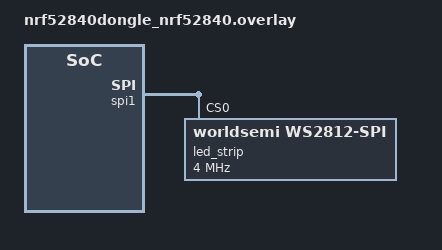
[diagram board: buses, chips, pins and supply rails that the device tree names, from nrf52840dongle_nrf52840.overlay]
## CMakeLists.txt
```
#
# Copyright (c) 2023 Nordic Semiconductor
#
# SPDX-License-Identifier: LicenseRef-Nordic-5-Clause
#
cmake_minimum_required(VERSION 3.20.0)

find_package(Zephyr REQUIRED HINTS $ENV{ZEPHYR_BASE})
project(ble_ledstripes)

# NORDIC SDK APP START
target_sources(app PRIVATE
  src/main.c
  src/neopixel_ifc.c
)

# NORDIC SDK APP END
```

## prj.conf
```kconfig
#
# Copyright (c) 2023 Nordic Semiconductor
#
# SPDX-License-Identifier: LicenseRef-Nordic-5-Clause
#
CONFIG_NCS_SAMPLES_DEFAULTS=y

CONFIG_BT=y
CONFIG_BT_PERIPHERAL=y
CONFIG_BT_DEVICE_NAME="Christmas tree"

# Enable the LBS service
CONFIG_BT_NSMS=y
CONFIG_DK_LIBRARY=y

CONFIG_SYSTEM_WORKQUEUE_STACK_SIZE=2048

CONFIG_LED_STRIP=y
CONFIG_LED_STRIP_LOG_LEVEL_DBG=y
```

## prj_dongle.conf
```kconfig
# This file is added as fragment file when setting up a nrf52840 dongle build

CONFIG_SPI=y
CONFIG_WS2812_STRIP_SPI=y
```

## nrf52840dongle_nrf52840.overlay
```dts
// To get started, press Ctrl+Space to bring up the completion menu and view the available nodes.

// You can also use the buttons in the sidebar to perform actions on nodes.
// Actions currently available include:

// * Enabling / disabling the node
// * Adding the bus to a bus
// * Removing the node
// * Connecting ADC channels

// For more help, browse the DeviceTree documentation at https://docs.zephyrproject.org/latest/guides/dts/index.html
// You can also visit the nRF DeviceTree extension documentation at https://nrfconnect.github.io/vscode-nrf-connect/devicetree/nrfdevicetree.html

#include <zephyr/dt-bindings/led/led.h>

//#include "../nrf52-bindings.h"
#define SPI_FREQ    4000000
#define ZERO_FRAME  0x40
#define ONE_FRAME   0x70

&spi1 {
    compatible = "nordic,nrf-spim";
    led_strip: ws2812@0 {
        compatible = "worldsemi,ws2812-spi";

        /* SPI */
        reg = <0>; /* ignored, but necessary for SPI bindings */
        spi-max-frequency = <SPI_FREQ>;

        /* WS2812 */
        chain-length = <36>; /* arbitrary; change at will */
        color-mapping = <LED_COLOR_ID_GREEN
                 LED_COLOR_ID_RED
                 LED_COLOR_ID_BLUE>;
        spi-one-frame = <ONE_FRAME>;
        spi-zero-frame = <ZERO_FRAME>;
    };
};

/ {
    aliases {
        led-strip = &led_strip;
    };
};
&spi1_default {
    group1 {
        psels = <NRF_PSEL(SPIM_SCK, 0, 31)>,
                <NRF_PSEL(SPIM_MOSI, 0, 29)>,
                <NRF_PSEL(SPIM_MISO, 1, 13)>;
    };
};
```

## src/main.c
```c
/*
 * Copyright (c) 2023 Nordic Semiconductor ASA
 *
 * SPDX-License-Identifier: LicenseRef-Nordic-5-Clause
 */

#include <zephyr/types.h>
#include <stddef.h>
#include <string.h>
#include <errno.h>
#include <zephyr/sys/printk.h>
#include <zephyr/sys/byteorder.h>
#include <zephyr/kernel.h>
#include <zephyr/drivers/gpio.h>
#include <soc.h>

#include <zephyr/bluetooth/bluetooth.h>
#include <zephyr/bluetooth/hci.h>
#include <zephyr/bluetooth/conn.h>
#include <zephyr/bluetooth/uuid.h>
#include <zephyr/bluetooth/gatt.h>

#include <bluetooth/services/nsms.h>

#include <zephyr/settings/settings.h>

#include <dk_buttons_and_leds.h>

#include "neopixel_ifc.h"

#define DEVICE_NAME             CONFIG_BT_DEVICE_NAME
#define DEVICE_NAME_LEN         (sizeof(DEVICE_NAME) - 1)


#define RUN_STATUS_LED          DK_LED1
#define CON_STATUS_LED          DK_LED2
#define RUN_LED_BLINK_INTERVAL  1000

#define STATUS1_BUTTON             DK_BTN1_MSK
#define STATUS2_BUTTON             DK_BTN2_MSK



// UUIDs for the custom service and characteristic
//#define CUSTOM_SERVICE_UUID BT_UUID_DECLARE_128(0x12345678, 0x1234, 0x5678, 0x1234, 0x56789abcdef0)
//#define CUSTOM_CHAR_UUID    BT_UUID_DECLARE_128(0xabcdef12, 0x3456, 0x789a, 0xbcde, 0xf0123456789a)
#define CUSTOM_SERVICE_UUID	BT_UUID_DECLARE_16(0x1234)
#define CUSTOM_CHAR_UUID_1 	BT_UUID_DECLARE_16(0x0001)
#define CUSTOM_CHAR_UUID_2  BT_UUID_DECLARE_16(0x0002)
#define CUSTOM_CHAR_UUID_3  BT_UUID_DECLARE_16(0x0003)

// Buffer to store the written value
static char write_value[32];

// Write callback
ssize_t write_callback_1(struct bt_conn *conn, const struct bt_gatt_attr *attr,
                       const void *buf, uint16_t len, uint16_t offset, uint8_t flags)
{

    char *value = (char *)attr->user_data;

    if (offset + len > sizeof(write_value)) {
        return BT_GATT_ERR(BT_ATT_ERR_INVALID_OFFSET);
    }

    // Write data to the buffer
    memcpy(value + offset, buf, len);
    value[offset + len] = '\0';  // Null-terminate for safety

	neopixel_command(value, len, 0);
    return len;
}

ssize_t write_callback_2(struct bt_conn *conn, const struct bt_gatt_attr *attr,
                       const void *buf, uint16_t len, uint16_t offset, uint8_t flags)
{
	char *value = (char *)attr->user_data;

    if (offset + len > sizeof(write_value)) {
        return BT_GATT_ERR(BT_ATT_ERR_INVALID_OFFSET);
    }

    // Write data to the buffer
    memcpy(value + offset, buf, len);
    value[offset + len] = '\0';  // Null-terminate for safety
	
	neopixel_command(value, len, 1);
	return len;
}

ssize_t write_callback_3(struct bt_conn *conn, const struct bt_gatt_attr *attr,
                       const void *buf, uint16_t len, uint16_t offset, uint8_t flags)
{
	char *value = (char *)attr->user_data;

    if (offset + len > sizeof(write_value)) {
        return BT_GATT_ERR(BT_ATT_ERR_INVALID_OFFSET);
    }

    // Write data to the buffer
    memcpy(value + offset, buf, len);
    value[offset + len] = '\0';  // Null-terminate for safety

	neopixel_command(value, len, 2);
	return len;
}


BT_GATT_SERVICE_DEFINE(custom_service,
    BT_GATT_PRIMARY_SERVICE(CUSTOM_SERVICE_UUID),
    BT_GATT_CHARACTERISTIC(CUSTOM_CHAR_UUID_1, 
                           BT_GATT_CHRC_WRITE,
                           BT_GATT_PERM_WRITE,
                           NULL, 
                           write_callback_1, 
                           write_value),
    BT_GATT_CHARACTERISTIC(CUSTOM_CHAR_UUID_2, 
                           BT_GATT_CHRC_WRITE,
                           BT_GATT_PERM_WRITE,
                           NULL, 
                           write_callback_2, 
                           write_value),
    BT_GATT_CHARACTERISTIC(CUSTOM_CHAR_UUID_3, 
                           BT_GATT_CHRC_WRITE,
                           BT_GATT_PERM_WRITE,
                           NULL, 
                           write_callback_3, 
                           write_value)
);

static const struct bt_data ad[] = {
	BT_DATA_BYTES(BT_DATA_FLAGS, (BT_LE_AD_GENERAL | BT_LE_AD_NO_BREDR)),
	BT_DATA(BT_DATA_NAME_COMPLETE, DEVICE_NAME, DEVICE_NAME_LEN),
};

static const struct bt_data sd[] = {
	BT_DATA_BYTES(BT_DATA_UUID128_ALL, BT_UUID_NSMS_VAL),
};

static void connected(struct bt_conn *conn, uint8_t err)
{
	if (err) {
		printk("Connection failed (err %u)\n", err);
		return;
	}

	printk("Connected\n");

	dk_set_led_on(CON_STATUS_LED);
}

static void disconnected(struct bt_conn *conn, uint8_t reason)
{
	printk("Disconnected (reason %u)\n", reason);

	dk_set_led_off(CON_STATUS_LED);
}

#if IS_ENABLED(CONFIG_BT_STATUS_SECURITY_ENABLED)
static void security_changed(struct bt_conn *conn, bt_security_t level,
			     enum bt_security_err err)
{
	char addr[BT_ADDR_LE_STR_LEN];

	bt_addr_le_to_str(bt_conn_get_dst(conn), addr, sizeof(addr));

	if (!err) {
		printk("Security changed: %s level %u\n", addr, level);
	} else {
		printk("Security failed: %s level %u err %d\n", addr, level,
			err);
	}
}
#endif

BT_CONN_CB_DEFINE(conn_callbacks) = {
	.connected        = connected,
	.disconnected     = disconnected,
#if IS_ENABLED(CONFIG_BT_STATUS_SECURITY_ENABLED)
	.security_changed = security_changed,
#endif
};

#if IS_ENABLED(CONFIG_BT_STATUS_SECURITY_ENABLED)
static void auth_passkey_display(struct bt_conn *conn, unsigned int passkey)
{
	char addr[BT_ADDR_LE_STR_LEN];

	bt_addr_le_to_str(bt_conn_get_dst(conn), addr, sizeof(addr));

	printk("Passkey for %s: %06u\n", addr, passkey);
}

static void auth_cancel(struct bt_conn *conn)
{
	char addr[BT_ADDR_LE_STR_LEN];

	bt_addr_le_to_str(bt_conn_get_dst(conn), addr, sizeof(addr));

	printk("Pairing cancelled: %s\n", addr);
}

static void pairing_complete(struct bt_conn *conn, bool bonded)
{
	char addr[BT_ADDR_LE_STR_LEN];

	bt_addr_le_to_str(bt_conn_get_dst(conn), addr, sizeof(addr));

	printk("Pairing completed: %s, bonded: %d\n", addr, bonded);
}

static void pairing_failed(struct bt_conn *conn, enum bt_security_err reason)
{
	char addr[BT_ADDR_LE_STR_LEN];

	bt_addr_le_to_str(bt_conn_get_dst(conn), addr, sizeof(addr));

	printk("Pairing failed conn: %s, reason %d\n", addr, reason);
}

static struct bt_conn_auth_cb conn_auth_callbacks = {
	.passkey_display = auth_passkey_display,
	.cancel = auth_cancel,
};

static struct bt_conn_auth_info_cb conn_auth_info_callbacks = {
	.pairing_complete = pairing_complete,
	.pairing_failed = pairing_failed
};
#else
static struct bt_conn_auth_cb conn_auth_callbacks;
static struct bt_conn_auth_info_cb conn_auth_info_callbacks;
#endif /* IS_ENABLED(CONFIG_BT_STATUS_SECURITY_ENABLED) */


static void button_changed(uint32_t button_state, uint32_t has_changed)
{
	#if 0
	if (has_changed & STATUS1_BUTTON) {
		bt_nsms_set_status(&nsms_btn1,
				   (button_state & STATUS1_BUTTON) ? "Pressed" : "Released");
	}
	if (has_changed & STATUS2_BUTTON) {
		bt_nsms_set_status(&nsms_btn2,
				   (button_state & STATUS2_BUTTON) ? "Pressed" : "Released");
	}
	#endif
}

static int init_button(void)
{
	int err;

	err = dk_buttons_init(button_changed);
	if (err) {
		printk("Cannot init buttons (err: %d)\n", err);
	}

	return err;
}

int main(void)
{
	int blink_status = 0;
	int err;

	printk("Starting Bluetooth Peripheral Status example\n");

	err = dk_leds_init();
	if (err) {
		printk("LEDs init failed (err %d)\n", err);
		return 0;
	}

	err = init_button();
	if (err) {
		printk("Button init failed (err %d)\n", err);
		return 0;
	}

	if (IS_ENABLED(CONFIG_BT_STATUS_SECURITY_ENABLED)) {
		err = bt_conn_auth_cb_register(&conn_auth_callbacks);
		if (err) {
			printk("Failed to register authorization callbacks.\n");
			return 0;
		}

		err = bt_conn_auth_info_cb_register(&conn_auth_info_callbacks);
		if (err) {
			printk("Failed to register authorization info callbacks.\n");
			return 0;
		}
	}

	err = bt_enable(NULL);
	if (err) {
		printk("Bluetooth init failed (err %d)\n", err);
		return 0;
	}

	printk("Bluetooth initialized\n");

	if (IS_ENABLED(CONFIG_SETTINGS)) {
		settings_load();
	}

	err = bt_le_adv_start(BT_LE_ADV_CONN, ad, ARRAY_SIZE(ad), sd, ARRAY_SIZE(sd));
	if (err) {
		printk("Advertising failed to start (err %d)\n", err);
		return 0;
	}

	printk("Advertising successfully started\n");

	for (;;) {
		dk_set_led(RUN_STATUS_LED, (++blink_status) % 2);
		k_sleep(K_MSEC(RUN_LED_BLINK_INTERVAL));
	}
}
```

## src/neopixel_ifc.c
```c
#include "neopixel_ifc.h"

#include <errno.h>
#include <string.h>

#define LOG_LEVEL 4
#include <zephyr/logging/log.h>
LOG_MODULE_REGISTER(main);

#include <zephyr/kernel.h>
#include <zephyr/drivers/led_strip.h>
#include <zephyr/device.h>
#include <zephyr/drivers/spi.h>
#include <zephyr/sys/util.h>

#define STRIP_NODE		DT_ALIAS(led_strip)
#define STRIP_NUM_PIXELS	DT_PROP(DT_ALIAS(led_strip), chain_length)

#define DELAY_TIME K_MSEC(10)
#define DELAY_TIME_LOGO K_MSEC(30)

#define RGB(_r, _g, _b) { .r = (_r), .g = (_g), .b = (_b) }

static const struct led_rgb colors[] = {
	RGB(0x3f, 0x00, 0x00), /* red */
	RGB(0x00, 0x3f, 0x00), /* green */
	RGB(0x00, 0x00, 0x3f), /* blue */
	RGB(0x0f, 0x3f, 0x00), /* yellow */
};

struct led_rgb pixels[STRIP_NUM_PIXELS];

static const struct device *const strip = DEVICE_DT_GET(STRIP_NODE);

static uint32_t display_offset = 0;

#define COLUMNS 16
#define ROWS    16

// Basic alphabet
uint8_t letters[][6] = {
{ 0x00, 0x00, 0x00, 0x00, 0x00, 0x00}, // SPACE
{ 0x7F, 0x88, 0x88, 0x88, 0x7F, 0x00}, // A
{ 0xFF, 0x91, 0x91, 0x91, 0x6E, 0x00}, // B
{ 0x7E, 0x81, 0x81, 0x81, 0x42, 0x00}, // C
{ 0xFF, 0x81, 0x81, 0x42, 0x3C, 0x00}, // D
{ 0xFF, 0x91, 0x91, 0x91, 0x81, 0x00}, // E
{ 0xFF, 0x90, 0x90, 0x90, 0x80, 0x00}, // F
{ 0x7E, 0x81, 0x89, 0x89, 0x4E, 0x00}, // G
{ 0xFF, 0x10, 0x10, 0x10, 0xFF, 0x00}, // H
{ 0x81, 0x81, 0xFF, 0x81, 0x81, 0x00}, // I
{ 0x06, 0x01, 0x01, 0x01, 0xFE, 0x00}, // J
{ 0xFF, 0x18, 0x24, 0x42, 0x81, 0x00}, // K
{ 0xFF, 0x01, 0x01, 0x01, 0x01, 0x00}, // L
{ 0xFF, 0x40, 0x30, 0x40, 0xFF, 0x00}, // M
{ 0xFF, 0x40, 0x30, 0x08, 0xFF, 0x00}, // N
{ 0x7E, 0x81, 0x81, 0x81, 0x7E, 0x00}, // O
{ 0xFF, 0x88, 0x88, 0x88, 0x70, 0x00}, // P
{ 0x7E, 0x81, 0x85, 0x82, 0x7D, 0x00}, // Q
{ 0xFF, 0x88, 0x8C, 0x8A, 0x71, 0x00}, // R
{ 0x61, 0x91, 0x91, 0x91, 0x8E, 0x00}, // S
{ 0x80, 0x80, 0xFF, 0x80, 0x80, 0x00}, // T
{ 0xFE, 0x01, 0x01, 0x01, 0xFE, 0x00}, // U
{ 0xF0, 0x0C, 0x03, 0x0C, 0xF0, 0x00}, // V
{ 0xFF, 0x02, 0x0C, 0x02, 0xFF, 0x00}, // W
{ 0xC3, 0x24, 0x18, 0x24, 0xC3, 0x00}, // X
{ 0xE0, 0x10, 0x0F, 0x10, 0xE0, 0x00}, // Y
{ 0x83, 0x85, 0x99, 0xA1, 0xC1, 0x00}, // Z
{ 0x06, 0x29, 0x29, 0x29, 0x1F, 0x00}, // a
{ 0xFF, 0x09, 0x11, 0x11, 0x0E, 0x00}, // b
{ 0x1E, 0x21, 0x21, 0x21, 0x12, 0x00}, // c
{ 0x0E, 0x11, 0x11, 0x09, 0xFF, 0x00}, // d
{ 0x0E, 0x15, 0x15, 0x15, 0x0C, 0x00}, // e
{ 0x08, 0x7F, 0x88, 0x80, 0x40, 0x00}, // f
{ 0x30, 0x49, 0x49, 0x49, 0x7E, 0x00}, // g
{ 0xFF, 0x08, 0x10, 0x10, 0x0F, 0x00}, // h
{ 0x00, 0x00, 0x5F, 0x00, 0x00, 0x00}, // i
{ 0x02, 0x01, 0x21, 0xBE, 0x00, 0x00}, // j
{ 0xFF, 0x04, 0x0A, 0x11, 0x00, 0x00}, // k
{ 0x00, 0x81, 0xFF, 0x01, 0x00, 0x00}, // l
{ 0x3F, 0x20, 0x18, 0x20, 0x1F, 0x00}, // m
{ 0x3F, 0x10, 0x20, 0x20, 0x1F, 0x00}, // n
{ 0x0E, 0x11, 0x11, 0x11, 0x0E, 0x00}, // o
{ 0x3F, 0x24, 0x24, 0x24, 0x18, 0x00}, // p
{ 0x10, 0x28, 0x28, 0x18, 0x3F, 0x00}, // q
{ 0x1F, 0x08, 0x10, 0x10, 0x08, 0x00}, // r
{ 0x09, 0x15, 0x15, 0x15, 0x02, 0x00}, // s
{ 0x20, 0xFE, 0x21, 0x01, 0x02, 0x00}, // t
{ 0x1E, 0x01, 0x01, 0x02, 0x1F, 0x00}, // u
{ 0x1C, 0x02, 0x01, 0x02, 0x1C, 0x00}, // v
{ 0x1E, 0x01, 0x0E, 0x01, 0x1E, 0x00}, // w
{ 0x11, 0x0A, 0x04, 0x0A, 0x11, 0x00}, // x
{ 0x00, 0x39, 0x05, 0x05, 0x3E, 0x00}, // y
{ 0x11, 0x13, 0x15, 0x19, 0x11, 0x00}, // z
{ 0x00, 0x41, 0xFF, 0x01, 0x00, 0x00}, // 1
{ 0x43, 0x85, 0x89, 0x91, 0x61, 0x00}, // 2
{ 0x42, 0x81, 0x91, 0x91, 0x6E, 0x00}, // 3
{ 0x18, 0x28, 0x48, 0xFF, 0x08, 0x00}, // 4
{ 0xF2, 0x91, 0x91, 0x91, 0x8E, 0x00}, // 5
{ 0x1E, 0x29, 0x49, 0x89, 0x86, 0x00}, // 6
{ 0x80, 0x8F, 0x90, 0xA0, 0xC0, 0x00}, // 7
{ 0x6E, 0x91, 0x91, 0x91, 0x6E, 0x00}, // 8
{ 0x70, 0x89, 0x89, 0x8A, 0x7C, 0x00}, // 9
{ 0x7E, 0x89, 0x91, 0xA1, 0x7E, 0x00}, // 0
{ 0x60, 0x80, 0x8D, 0x90, 0x60, 0x00}, // ?
{ 0x00, 0x00, 0xFD, 0x00, 0x00, 0x00}, // !
{ 0x0F, 0x54, 0xB4, 0x54, 0x0F, 0x00}, // Å
};


const uint8_t santa_right_img[16][16][3] = {
    { {0, 0, 0}, {0, 0, 0}, {0, 0, 0}, {0, 0, 0}, {0, 0, 0}, {0, 0, 0}, {0, 0, 0}, {0, 0, 0}, {255, 0, 64}, {255, 0, 64}, {255, 0, 64}, {255, 0, 64}, {0, 0, 0}, {0, 0, 0}, {0, 0, 0}, {0, 0, 0} },
    { {0, 0, 0}, {0, 0, 0}, {0, 0, 0}, {0, 0, 0}, {0, 0, 0}, {0, 0, 0}, {0, 0, 0}, {255, 0, 64}, {255, 0, 64}, {255, 0, 64}, {0, 0, 0}, {255, 0, 64}, {255, 0, 64}, {0, 0, 0}, {0, 0, 0}, {0, 0, 0} },
    { {0, 0, 0}, {0, 0, 0}, {0, 0, 0}, {0, 0, 0}, {0, 0, 0}, {0, 0, 0}, {255, 0, 64}, {255, 0, 64}, {255, 0, 64}, {255, 0, 64}, {0, 0, 0}, {0, 0, 0}, {255, 0, 64}, {255, 0, 64}, {0, 0, 0}, {0, 0, 0} },
    { {0, 0, 0}, {0, 0, 0}, {0, 0, 0}, {0, 0, 0}, {0, 0, 0}, {255, 0, 64}, {255, 0, 64}, {255, 0, 64}, {255, 0, 64}, {255, 0, 64}, {255, 0, 64}, {0, 0, 0}, {0, 0, 0}, {0, 0, 0}, {0, 0, 0}, {0, 0, 0} },
    { {0, 0, 0}, {0, 0, 0}, {0, 0, 0}, {0, 0, 0}, {255, 0, 64}, {255, 0, 64}, {255, 0, 64}, {255, 0, 64}, {255, 0, 64}, {255, 0, 64}, {255, 0, 64}, {255, 0, 64}, {0, 0, 0}, {0, 0, 0}, {0, 0, 0}, {0, 0, 0} },
    { {0, 0, 0}, {0, 0, 0}, {0, 0, 0}, {255, 0, 64}, {255, 0, 64}, {255, 0, 64}, {255, 0, 64}, {255, 0, 64}, {255, 0, 64}, {255, 0, 64}, {255, 0, 64}, {255, 0, 64}, {255, 0, 64}, {0, 0, 0}, {0, 0, 0}, {0, 0, 0} },
    { {0, 0, 0}, {0, 0, 0}, {255, 0, 64}, {255, 0, 64}, {255, 0, 64}, {255, 0, 64}, {255, 0, 64}, {255, 0, 64}, {255, 0, 64}, {255, 0, 64}, {255, 0, 64}, {255, 0, 64}, {255, 0, 64}, {255, 0, 64}, {0, 0, 0}, {0, 0, 0} },
    { {0, 0, 0}, {0, 0, 0}, {255, 255, 255}, {132, 71, 55}, {132, 71, 55}, {132, 71, 55}, {132, 71, 55}, {132, 71, 55}, {132, 71, 55}, {132, 71, 55}, {132, 71, 55}, {132, 71, 55}, {132, 71, 55}, {255, 255, 255}, {0, 0, 0}, {0, 0, 0} },
    { {0, 0, 0}, {0, 0, 0}, {255, 255, 255}, {255, 255, 255}, {132, 71, 55}, {255, 255, 255}, {132, 71, 55}, {132, 71, 55}, {132, 71, 55}, {255, 255, 255}, {132, 71, 55}, {132, 71, 55}, {255, 255, 255}, {255, 255, 255}, {0, 0, 0}, {0, 0, 0} },
    { {0, 0, 0}, {0, 0, 0}, {0, 0, 0}, {255, 255, 255}, {132, 71, 55}, {132, 71, 55}, {132, 71, 55}, {132, 71, 55}, {132, 71, 55}, {132, 71, 55}, {132, 71, 55}, {132, 71, 55}, {255, 255, 255}, {0, 0, 0}, {0, 0, 0}, {0, 0, 0} },
    { {0, 0, 0}, {0, 0, 0}, {0, 0, 0}, {255, 255, 255}, {255, 255, 255}, {132, 71, 55}, {132, 71, 55}, {132, 71, 55}, {132, 71, 55}, {132, 71, 55}, {132, 71, 55}, {255, 255, 255}, {255, 255, 255}, {0, 0, 0}, {0, 0, 0}, {0, 0, 0} },
    { {0, 0, 0}, {255, 0, 64}, {255, 0, 64}, {255, 255, 255}, {255, 255, 255}, {255, 255, 255}, {132, 71, 55}, {132, 71, 55}, {132, 71, 55}, {132, 71, 55}, {255, 255, 255}, {255, 255, 255}, {255, 255, 255}, {255, 0, 64}, {255, 0, 64}, {0, 0, 0} },
    { {255, 0, 64}, {255, 0, 64}, {255, 0, 64}, {255, 0, 64}, {255, 255, 255}, {255, 255, 255}, {255, 255, 255}, {255, 255, 255}, {255, 255, 255}, {255, 255, 255}, {255, 255, 255}, {255, 255, 255}, {255, 0, 64}, {255, 0, 64}, {255, 0, 64}, {255, 0, 64} },
    { {255, 0, 64}, {255, 0, 64}, {255, 0, 64}, {255, 0, 64}, {255, 0, 64}, {255, 255, 255}, {255, 255, 255}, {255, 255, 255}, {255, 255, 255}, {255, 255, 255}, {255, 255, 255}, {255, 0, 64}, {255, 0, 64}, {255, 0, 64}, {255, 0, 64}, {255, 0, 64} },
    { {255, 0, 64}, {255, 0, 64}, {255, 0, 64}, {255, 0, 64}, {255, 0, 64}, {255, 255, 255}, {255, 255, 255}, {255, 255, 255}, {255, 255, 255}, {255, 255, 255}, {255, 255, 255}, {255, 0, 64}, {255, 0, 64}, {255, 0, 64}, {255, 0, 64}, {255, 0, 64} },
    { {255, 0, 64}, {255, 0, 64}, {255, 0, 64}, {255, 0, 64}, {255, 0, 64}, {255, 0, 64}, {255, 255, 255}, {255, 255, 255}, {255, 255, 255}, {255, 0, 64}, {255, 0, 64}, {255, 0, 64}, {255, 0, 64}, {255, 0, 64}, {255, 0, 64}, {255, 0, 64} },
};

const uint8_t santa_left_img[16][16][3] = {
    { {0, 0, 0}, {0, 0, 0}, {0, 0, 0}, {0, 0, 0}, {0, 0, 0}, {0, 0, 0}, {0, 0, 0}, {0, 0, 0}, {255, 0, 64}, {255, 0, 64}, {255, 0, 64}, {255, 0, 64}, {0, 0, 0}, {0, 0, 0}, {0, 0, 0}, {0, 0, 0} },
    { {0, 0, 0}, {0, 0, 0}, {0, 0, 0}, {0, 0, 0}, {0, 0, 0}, {0, 0, 0}, {0, 0, 0}, {255, 0, 64}, {255, 0, 64}, {255, 0, 64}, {0, 0, 0}, {255, 0, 64}, {255, 0, 64}, {0, 0, 0}, {0, 0, 0}, {0, 0, 0} },
    { {0, 0, 0}, {0, 0, 0}, {0, 0, 0}, {0, 0, 0}, {0, 0, 0}, {0, 0, 0}, {255, 0, 64}, {255, 0, 64}, {255, 0, 64}, {255, 0, 64}, {0, 0, 0}, {0, 0, 0}, {255, 0, 64}, {255, 0, 64}, {0, 0, 0}, {0, 0, 0} },
    { {0, 0, 0}, {0, 0, 0}, {0, 0, 0}, {0, 0, 0}, {0, 0, 0}, {255, 0, 64}, {255, 0, 64}, {255, 0, 64}, {255, 0, 64}, {255, 0, 64}, {255, 0, 64}, {0, 0, 0}, {0, 0, 0}, {0, 0, 0}, {0, 0, 0}, {0, 0, 0} },
    { {0, 0, 0}, {0, 0, 0}, {0, 0, 0}, {0, 0, 0}, {255, 0, 64}, {255, 0, 64}, {255, 0, 64}, {255, 0, 64}, {255, 0, 64}, {255, 0, 64}, {255, 0, 64}, {255, 0, 64}, {0, 0, 0}, {0, 0, 0}, {0, 0, 0}, {0, 0, 0} },
    { {0, 0, 0}, {0, 0, 0}, {0, 0, 0}, {255, 0, 64}, {255, 0, 64}, {255, 0, 64}, {255, 0, 64}, {255, 0, 64}, {255, 0, 64}, {255, 0, 64}, {255, 0, 64}, {255, 0, 64}, {255, 0, 64}, {0, 0, 0}, {0, 0, 0}, {0, 0, 0} },
    { {0, 0, 0}, {0, 0, 0}, {255, 0, 64}, {255, 0, 64}, {255, 0, 64}, {255, 0, 64}, {255, 0, 64}, {255, 0, 64}, {255, 0, 64}, {255, 0, 64}, {255, 0, 64}, {255, 0, 64}, {255, 0, 64}, {255, 0, 64}, {0, 0, 0}, {0, 0, 0} },
    { {0, 0, 0}, {0, 0, 0}, {255, 255, 255}, {132, 71, 55}, {132, 71, 55}, {132, 71, 55}, {132, 71, 55}, {132, 71, 55}, {132, 71, 55}, {132, 71, 55}, {132, 71, 55}, {132, 71, 55}, {132, 71, 55}, {255, 255, 255}, {0, 0, 0}, {0, 0, 0} },
    { {0, 0, 0}, {0, 0, 0}, {255, 255, 255}, {255, 255, 255}, {132, 71, 55}, {132, 71, 55}, {255, 255, 255}, {132, 71, 55}, {132, 71, 55}, {132, 71, 55}, {255, 255, 255}, {132, 71, 55}, {255, 255, 255}, {255, 255, 255}, {0, 0, 0}, {0, 0, 0} },
    { {0, 0, 0}, {0, 0, 0}, {0, 0, 0}, {255, 255, 255}, {132, 71, 55}, {132, 71, 55}, {132, 71, 55}, {132, 71, 55}, {132, 71, 55}, {132, 71, 55}, {132, 71, 55}, {132, 71, 55}, {255, 255, 255}, {0, 0, 0}, {0, 0, 0}, {0, 0, 0} },
    { {0, 0, 0}, {0, 0, 0}, {0, 0, 0}, {255, 255, 255}, {255, 255, 255}, {132, 71, 55}, {132, 71, 55}, {132, 71, 55}, {132, 71, 55}, {132, 71, 55}, {132, 71, 55}, {255, 255, 255}, {255, 255, 255}, {0, 0, 0}, {0, 0, 0}, {0, 0, 0} },
    { {0, 0, 0}, {255, 0, 64}, {255, 0, 64}, {255, 255, 255}, {255, 255, 255}, {255, 255, 255}, {132, 71, 55}, {132, 71, 55}, {132, 71, 55}, {132, 71, 55}, {255, 255, 255}, {255, 255, 255}, {255, 255, 255}, {255, 0, 64}, {255, 0, 64}, {0, 0, 0} },
    { {255, 0, 64}, {255, 0, 64}, {255, 0, 64}, {255, 0, 64}, {255, 255, 255}, {255, 255, 255}, {255, 255, 255}, {255, 255, 255}, {255, 255, 255}, {255, 255, 255}, {255, 255, 255}, {255, 255, 255}, {255, 0, 64}, {255, 0, 64}, {255, 0, 64}, {255, 0, 64} },
    { {255, 0, 64}, {255, 0, 64}, {255, 0, 64}, {255, 0, 64}, {255, 0, 64}, {255, 255, 255}, {255, 255, 255}, {255, 255, 255}, {255, 255, 255}, {255, 255, 255}, {255, 255, 255}, {255, 0, 64}, {255, 0, 64}, {255, 0, 64}, {255, 0, 64}, {255, 0, 64} },
    { {255, 0, 64}, {255, 0, 64}, {255, 0, 64}, {255, 0, 64}, {255, 0, 64}, {255, 255, 255}, {255, 255, 255}, {255, 255, 255}, {255, 255, 255}, {255, 255, 255}, {255, 255, 255}, {255, 0, 64}, {255, 0, 64}, {255, 0, 64}, {255, 0, 64}, {255, 0, 64} },
    { {255, 0, 64}, {255, 0, 64}, {255, 0, 64}, {255, 0, 64}, {255, 0, 64}, {255, 0, 64}, {255, 255, 255}, {255, 255, 255}, {255, 255, 255}, {255, 0, 64}, {255, 0, 64}, {255, 0, 64}, {255, 0, 64}, {255, 0, 64}, {255, 0, 64}, {255, 0, 64} },
};

const uint8_t polka_img[16][16][3] = {
    { {90, 197, 79}, {90, 197, 79}, {90, 197, 79}, {90, 197, 79}, {90, 197, 79}, {90, 197, 79}, {90, 197, 79}, {90, 197, 79}, {90, 197, 79}, {90, 197, 79}, {90, 197, 79}, {90, 197, 79}, {90, 197, 79}, {90, 197, 79}, {90, 197, 79}, {90, 197, 79} },
    { {90, 197, 79}, {90, 197, 79}, {90, 197, 79}, {90, 197, 79}, {90, 197, 79}, {90, 197, 79}, {90, 197, 79}, {90, 197, 79}, {90, 197, 79}, {90, 197, 79}, {90, 197, 79}, {90, 197, 79}, {90, 197, 79}, {255, 255, 255}, {90, 197, 79}, {90, 197, 79} },
    { {90, 197, 79}, {90, 197, 79}, {90, 197, 79}, {90, 197, 79}, {90, 197, 79}, {90, 197, 79}, {255, 0, 64}, {255, 0, 64}, {90, 197, 79}, {90, 197, 79}, {90, 197, 79}, {90, 197, 79}, {255, 0, 64}, {90, 197, 79}, {255, 0, 64}, {90, 197, 79} },
    { {90, 197, 79}, {90, 197, 79}, {90, 197, 79}, {90, 197, 79}, {90, 197, 79}, {255, 0, 64}, {255, 0, 64}, {255, 255, 255}, {255, 255, 255}, {90, 197, 79}, {90, 197, 79}, {90, 197, 79}, {90, 197, 79}, {90, 197, 79}, {255, 255, 255}, {90, 197, 79} },
    { {90, 197, 79}, {90, 197, 79}, {90, 197, 79}, {90, 197, 79}, {255, 255, 255}, {255, 255, 255}, {90, 197, 79}, {90, 197, 79}, {255, 255, 255}, {255, 0, 64}, {90, 197, 79}, {90, 197, 79}, {90, 197, 79}, {90, 197, 79}, {255, 0, 64}, {90, 197, 79} },
    { {90, 197, 79}, {90, 197, 79}, {90, 197, 79}, {90, 197, 79}, {255, 255, 255}, {90, 197, 79}, {90, 197, 79}, {90, 197, 79}, {255, 0, 64}, {255, 0, 64}, {90, 197, 79}, {90, 197, 79}, {90, 197, 79}, {90, 197, 79}, {255, 255, 255}, {90, 197, 79} },
    { {90, 197, 79}, {90, 197, 79}, {90, 197, 79}, {90, 197, 79}, {90, 197, 79}, {90, 197, 79}, {90, 197, 79}, {90, 197, 79}, {255, 0, 64}, {255, 255, 255}, {90, 197, 79}, {90, 197, 79}, {90, 197, 79}, {90, 197, 79}, {255, 0, 64}, {90, 197, 79} },
    { {90, 197, 79}, {90, 197, 79}, {90, 197, 79}, {90, 197, 79}, {90, 197, 79}, {90, 197, 79}, {90, 197, 79}, {90, 197, 79}, {255, 255, 255}, {255, 255, 255}, {90, 197, 79}, {90, 197, 79}, {90, 197, 79}, {90, 197, 79}, {90, 197, 79}, {90, 197, 79} },
    { {90, 197, 79}, {90, 197, 79}, {90, 197, 79}, {90, 197, 79}, {90, 197, 79}, {90, 197, 79}, {90, 197, 79}, {90, 197, 79}, {255, 255, 255}, {255, 0, 64}, {90, 197, 79}, {90, 197, 79}, {90, 197, 79}, {90, 197, 79}, {90, 197, 79}, {90, 197, 79} },
    { {90, 197, 79}, {90, 197, 79}, {90, 197, 79}, {255, 255, 255}, {90, 197, 79}, {90, 197, 79}, {90, 197, 79}, {90, 197, 79}, {255, 0, 64}, {255, 0, 64}, {90, 197, 79}, {90, 197, 79}, {90, 197, 79}, {90, 197, 79}, {90, 197, 79}, {90, 197, 79} },
    { {90, 197, 79}, {90, 197, 79}, {255, 0, 64}, {90, 197, 79}, {255, 0, 64}, {90, 197, 79}, {90, 197, 79}, {90, 197, 79}, {255, 0, 64}, {255, 255, 255}, {90, 197, 79}, {90, 197, 79}, {90, 197, 79}, {90, 197, 79}, {90, 197, 79}, {90, 197, 79} },
    { {90, 197, 79}, {90, 197, 79}, {90, 197, 79}, {90, 197, 79}, {255, 255, 255}, {90, 197, 79}, {90, 197, 79}, {90, 197, 79}, {255, 255, 255}, {255, 255, 255}, {90, 197, 79}, {90, 197, 79}, {90, 197, 79}, {90, 197, 79}, {90, 197, 79}, {90, 197, 79} },
    { {90, 197, 79}, {90, 197, 79}, {90, 197, 79}, {90, 197, 79}, {255, 0, 64}, {90, 197, 79}, {90, 197, 79}, {90, 197, 79}, {255, 255, 255}, {255, 0, 64}, {90, 197, 79}, {90, 197, 79}, {90, 197, 79}, {90, 197, 79}, {90, 197, 79}, {90, 197, 79} },
    { {90, 197, 79}, {90, 197, 79}, {90, 197, 79}, {90, 197, 79}, {255, 255, 255}, {90, 197, 79}, {90, 197, 79}, {90, 197, 79}, {255, 0, 64}, {255, 0, 64}, {90, 197, 79}, {90, 197, 79}, {90, 197, 79}, {90, 197, 79}, {90, 197, 79}, {90, 197, 79} },
    { {90, 197, 79}, {90, 197, 79}, {90, 197, 79}, {90, 197, 79}, {255, 0, 64}, {90, 197, 79}, {90, 197, 79}, {90, 197, 79}, {90, 197, 79}, {90, 197, 79}, {90, 197, 79}, {90, 197, 79}, {90, 197, 79}, {90, 197, 79}, {90, 197, 79}, {90, 197, 79} },
    { {90, 197, 79}, {90, 197, 79}, {90, 197, 79}, {90, 197, 79}, {90, 197, 79}, {90, 197, 79}, {90, 197, 79}, {90, 197, 79}, {90, 197, 79}, {90, 197, 79}, {90, 197, 79}, {90, 197, 79}, {90, 197, 79}, {90, 197, 79}, {90, 197, 79}, {90, 197, 79} },
};

const char letterPositions[] = " ABCDEFGHIJKLMNOPQRSTUVWXYZabcdefghijklmnopqrstuvwxyz1234567890?!Å";

size_t selected_color = 1;
size_t selected_repetitions = 1;


uint8_t get_letter_pos( char letter ) {
    for (uint8_t i = 0; i < sizeof(letterPositions); i++ )
    {
        if ( letter == letterPositions[i] ) {
            return i;
        }
    }
    return 0;
}

static void set_pixel_10_30( uint16_t row, uint16_t column, size_t color )  {
    uint16_t led_no = row*COLUMNS;

    if(row %2) {
        led_no += (COLUMNS - 1) - column;
    }
        else {
  	    led_no += column;
    }

    memcpy(&pixels[led_no], &colors[color], sizeof(struct led_rgb));
}

static void set_pixel_16_16( uint16_t row, uint16_t column, size_t color )  {
    uint16_t led_no = row*COLUMNS;

    if((row+1) %2) {
        led_no += (COLUMNS - 1) - column;
    }
        else {
  	    led_no += column;
    }

    memcpy(&pixels[led_no + display_offset], &colors[color], sizeof(struct led_rgb));
}

static void write_char( const uint8_t* c, int x_offset) {
	int x_pos = 0;
  	for( uint8_t x=0; x<6; x++ ) {
  		x_pos = x + x_offset;
    	if( x_pos >=0 && x_pos < COLUMNS ) {
    		for( uint8_t y=0; y<8; y++ ) {
   	  			if(( 0x80 >> y ) & c[x] ) {
	  				set_pixel_16_16( y+1, x_pos, selected_color );
      			}
  			}
    	}
  	}
}

static void update_led_strip( void ) {
    int rc;

    rc = led_strip_update_rgb(strip, pixels, STRIP_NUM_PIXELS);
    if (rc) {
        LOG_ERR("couldn't update strip: %d", rc);
    }
}

static void fill_pixel_memory( size_t color ) {
    /* Fill pixel memory */
    for (uint16_t led_no = 0; led_no < STRIP_NUM_PIXELS; led_no++) {
        memcpy(&pixels[led_no], &colors[color], sizeof(struct led_rgb));
    }
}

static void clear_pixel_memory( void ) {
    /* Clear pixel memory */
    memset(pixels, 0x00, sizeof(pixels));
}

static void clear_pixel_memory_page( void ) {
    /* Clear pixel memory */
    memset(&pixels[display_offset], 0x00, 256);
}

void neopixel_set_repetitions( size_t repetitions ) {
    selected_repetitions = repetitions;
}

void neopixel_toggle_all_pixels( void ) {
    for (uint16_t y = 0; y < ROWS; y++ ) {
        for (uint16_t x = 0; x < COLUMNS; x++ ) {
            clear_pixel_memory();
            set_pixel_16_16(y, x, selected_color);
            update_led_strip();
        }
    }
}


void neopixel_display_write_string( char* text, size_t length ) {
    uint8_t chPos = 0;
  	int startPos = COLUMNS - 1;
  	int numPixels = 6 * length;
    int j = 0;

    while (j < selected_repetitions ) {
        startPos = COLUMNS - 1;
        while ((startPos + numPixels) >= 0) {
            clear_pixel_memory();
            for (int j=0; j<length; j++) {
                chPos = get_letter_pos( text[j] );

                write_char((const uint8_t*)letters[chPos],startPos + j*6);
            }
            startPos -= 1;
            update_led_strip();                          //  Update strip to match
            k_sleep(DELAY_TIME);
        }
        j++;
    }
}


static void fill_all_addresses(void) {
    for (uint16_t i = 0; i < STRIP_NUM_PIXELS; i++ ) {
        memcpy(&pixels[i], &colors[selected_color], sizeof(struct led_rgb));
        k_sleep(DELAY_TIME_LOGO);
        update_led_strip();
    }
}

void neopixel_display_16_16_image( const uint8_t pixel_array[16][16][3]) {
    uint8_t row = 0;
    uint8_t column = 0;
    uint16_t led_idx = 0;
    struct led_rgb color;

    clear_pixel_memory_page();   
    while(row < 16) {
        // Odd rows
        if(row % 2) {
            while(column < 16) {
                color.r = pixel_array[row][column][0]/8;
                color.g = pixel_array[row][column][1]/8;
                color.b = pixel_array[row][column][2]/8;
                memcpy(&pixels[led_idx + display_offset], &color, sizeof(struct led_rgb));
                led_idx++;
                column++;
            }
        } else { // Even rows
            while(column < 16) {
                color.r = pixel_array[row][15 - column][0]/8;
                color.g = pixel_array[row][15 - column][1]/8;
                color.b = pixel_array[row][15 - column][2]/8;
                memcpy(&pixels[led_idx + display_offset], &color, sizeof(struct led_rgb));
                led_idx++;
                column++;
            }   
        }
        row++;
        column = 0;
    }
    update_led_strip();
}

int cnt = 0;
void neopixel_command( char* text, size_t length, size_t page ) {
    
    display_offset = 0;
    
    /* Special command */
    if( text[0] == '#' ) {
        switch(text[1]) {
            case 'P':
                if(text[2] == '0' ) {
                    neopixel_display_16_16_image(santa_left_img);
                }
                if(text[2] == '1' ) {
                    neopixel_display_16_16_image(santa_right_img);
                }
                if(text[2] == '2' ) {
                    neopixel_display_16_16_image(polka_img);
                }

                break;
            case 'R': /* Set color Red */
                selected_color = 0;
                break;
            case 'G': /* Set color Green */
                selected_color = 1;
                break;
            case 'B': /* Set color Blue */
                selected_color = 2;
                break;
            case 'Y': /* Set color Yellow */
                selected_color = 3;
                break;
            case '0': /* Clear display */
                clear_pixel_memory();   
                update_led_strip();
                break;
            case '1': /* Fill display */
                fill_pixel_memory(selected_color);   
                update_led_strip();
                break;
            case '2':
                fill_all_addresses();
            default:
                break;
        }
    }
    else {
        selected_color = cnt;
        fill_all_addresses();
        cnt++;
        if(cnt > 3) {
            cnt = 0;
        }
//        neopixel_display_write_string(text, length);
    }
}
```

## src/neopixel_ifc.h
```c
#include <string.h>

extern void neopixel_command( char* text, size_t length, size_t page );
```
